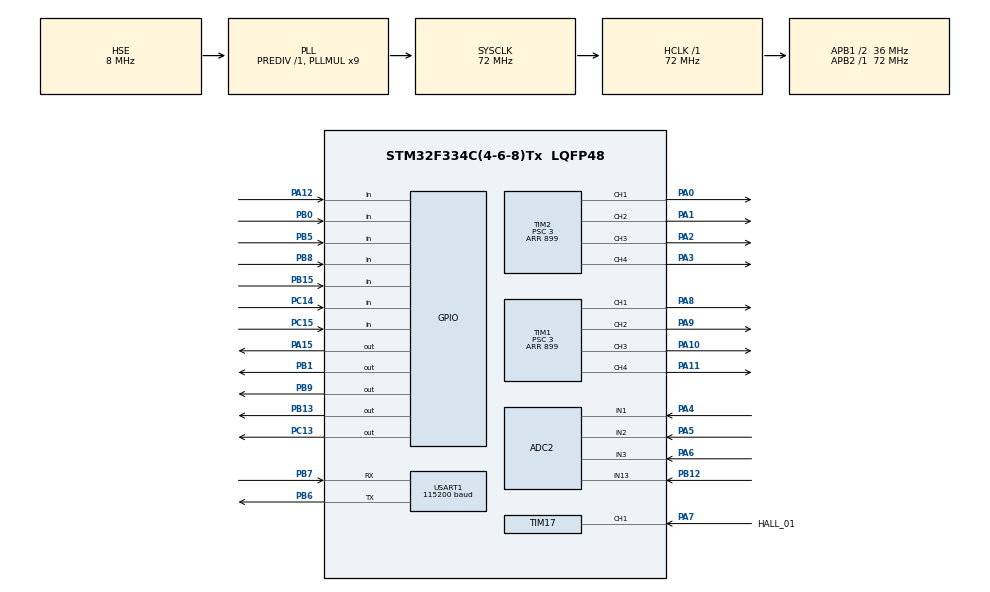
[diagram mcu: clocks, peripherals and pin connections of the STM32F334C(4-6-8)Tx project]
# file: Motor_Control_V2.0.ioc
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ADC2.Channel-0\#ChannelRegularConversion=ADC_CHANNEL_1
ADC2.Channel-1\#ChannelRegularConversion=ADC_CHANNEL_2
ADC2.Channel-2\#ChannelRegularConversion=ADC_CHANNEL_3
ADC2.Channel-3\#ChannelRegularConversion=ADC_CHANNEL_13
ADC2.ContinuousConvMode=DISABLE
ADC2.DMAContinuousRequests=ENABLE
ADC2.EOCSelection=ADC_EOC_SEQ_CONV
ADC2.EnableInjectedConversion=DISABLE
ADC2.ExternalTrigConv=ADC_EXTERNALTRIGCONV_T1_TRGO
ADC2.NbrOfConversion=4
ADC2.NbrOfConversionFlag=1
ADC2.Offset-0\#ChannelRegularConversion=0
ADC2.Offset-1\#ChannelRegularConversion=0
ADC2.Offset-2\#ChannelRegularConversion=0
ADC2.Offset-3\#ChannelRegularConversion=0
ADC2.OffsetNumber-0\#ChannelRegularConversion=ADC_OFFSET_NONE
ADC2.OffsetNumber-1\#ChannelRegularConversion=ADC_OFFSET_NONE
ADC2.OffsetNumber-2\#ChannelRegularConversion=ADC_OFFSET_NONE
ADC2.OffsetNumber-3\#ChannelRegularConversion=ADC_OFFSET_NONE
ADC2.Overrun=ADC_OVR_DATA_PRESERVED
ADC2.Rank-0\#ChannelRegularConversion=1
ADC2.Rank-1\#ChannelRegularConversion=2
ADC2.Rank-2\#ChannelRegularConversion=3
ADC2.Rank-3\#ChannelRegularConversion=4
ADC2.SamplingTime-0\#ChannelRegularConversion=ADC_SAMPLETIME_601CYCLES_5
ADC2.SamplingTime-1\#ChannelRegularConversion=ADC_SAMPLETIME_601CYCLES_5
ADC2.SamplingTime-2\#ChannelRegularConversion=ADC_SAMPLETIME_601CYCLES_5
ADC2.SamplingTime-3\#ChannelRegularConversion=ADC_SAMPLETIME_601CYCLES_5
ADC2.SequencerNbRanks=1
ADC2.SubFamily=STM32F334x8
Dma.ADC2.0.Direction=DMA_PERIPH_TO_MEMORY
Dma.ADC2.0.Instance=DMA1_Channel2
Dma.ADC2.0.MemDataAlignment=DMA_MDATAALIGN_HALFWORD
Dma.ADC2.0.MemInc=DMA_MINC_ENABLE
Dma.ADC2.0.Mode=DMA_CIRCULAR
Dma.ADC2.0.PeriphDataAlignment=DMA_PDATAALIGN_HALFWORD
Dma.ADC2.0.PeriphInc=DMA_PINC_DISABLE
Dma.ADC2.0.Priority=DMA_PRIORITY_HIGH
Dma.Request0=ADC2
Dma.Request1=USART1_RX
Dma.USART1_RX.1.Direction=DMA_PERIPH_TO_MEMORY
Dma.USART1_RX.1.Instance=DMA1_Channel5
Dma.USART1_RX.1.MemDataAlignment=DMA_MDATAALIGN_BYTE
Dma.USART1_RX.1.MemInc=DMA_MINC_ENABLE
Dma.USART1_RX.1.Mode=DMA_CIRCULAR
Dma.USART1_RX.1.PeriphDataAlignment=DMA_PDATAALIGN_BYTE
Dma.USART1_RX.1.PeriphInc=DMA_PINC_DISABLE
Dma.USART1_RX.1.Priority=DMA_PRIORITY_MEDIUM
Mcu.Family=STM32F3
Mcu.Name=STM32F334C(4-6-8)Tx
Mcu.Package=LQFP48
NVIC.DMA1_Channel2_IRQn=true\:2\:0\:true\:false\:true\:false\:true\:true
NVIC.DMA1_Channel5_IRQn=true\:3\:0\:true\:false\:true\:false\:true\:true
NVIC.PriorityGroup=NVIC_PRIORITYGROUP_4
NVIC.TIM1_TRG_COM_TIM17_IRQn=true\:1\:0\:true\:false\:true\:true\:true\:true
NVIC.TIM1_UP_TIM16_IRQn=true\:3\:0\:true\:false\:true\:true\:true\:true
NVIC.TIM3_IRQn=true\:1\:0\:true\:false\:true\:true\:true\:true
NVIC.TIM6_DAC1_IRQn=true\:0\:0\:false\:false\:true\:true\:true\:true
NVIC.USART1_IRQn=true\:3\:0\:true\:false\:true\:true\:true\:true
PA0.Signal=S_TIM2_CH1_ETR
PA1.Signal=S_TIM2_CH2
PA10.Signal=S_TIM1_CH3
PA11.Signal=S_TIM1_CH4
PA12.GPIO_PuPd=GPIO_PULLUP
PA12.Signal=GPIO_Input
PA13.Mode=Serial_Wire
PA13.Signal=SYS_JTMS-SWDIO
PA14.Mode=Serial_Wire
PA14.Signal=SYS_JTCK-SWCLK
PA15.Signal=GPIO_Output
PA2.Signal=S_TIM2_CH3
PA3.Signal=S_TIM2_CH4
PA4.Mode=IN1-Single-Ended
PA4.Signal=ADC2_IN1
PA5.Mode=IN2-Single-Ended
PA5.Signal=ADC2_IN2
PA6.Mode=IN3-Single-Ended
PA6.Signal=ADC2_IN3
PA7.GPIO_Label=HALL_01
PA7.GPIO_PuPd=GPIO_PULLUP
PA7.GPIO_Speed=GPIO_SPEED_FREQ_HIGH
PA7.Signal=S_TIM17_CH1
PA8.Signal=S_TIM1_CH1
PA9.Signal=S_TIM1_CH2
PB0.GPIO_PuPd=GPIO_PULLUP
PB0.Signal=GPIO_Input
PB1.Signal=GPIO_Output
PB12.Mode=IN13-Single-Ended
PB12.Signal=ADC2_IN13
PB13.Signal=GPIO_Output
PB15.GPIO_PuPd=GPIO_PULLUP
PB15.Signal=GPIO_Input
PB5.GPIO_Mode=GPIO_MODE_INPUT
PB5.GPIO_PuPd=GPIO_PULLUP
PB5.Signal=GPIO_Input
PB6.GPIO_PuPd=GPIO_PULLUP
PB6.Mode=Asynchronous
PB6.Signal=USART1_TX
PB7.GPIO_PuPd=GPIO_PULLUP
PB7.Mode=Asynchronous
PB7.Signal=USART1_RX
PB8.GPIO_PuPd=GPIO_PULLUP
PB8.Signal=GPIO_Input
PB9.Signal=GPIO_Output
PC13.Signal=GPIO_Output
PC14\ /\ OSC32_IN.GPIO_PuPd=GPIO_PULLUP
PC14\ /\ OSC32_IN.Signal=GPIO_Input
PC15\ /\ OSC32_OUT.GPIO_PuPd=GPIO_PULLUP
PC15\ /\ OSC32_OUT.Signal=GPIO_Input
PF0\ /\ OSC_IN.Mode=HSE-External-Oscillator
PF0\ /\ OSC_IN.Signal=RCC_OSC_IN
PF1\ /\ OSC_OUT.Mode=HSE-External-Oscillator
PF1\ /\ OSC_OUT.Signal=RCC_OSC_OUT
ProjectManager.HeapSize=0x200
ProjectManager.StackSize=0x400
ProjectManager.TargetToolchain=MDK-ARM V5.32
RCC.AHBFreq_Value=72000000
RCC.APB1CLKDivider=RCC_HCLK_DIV2
RCC.APB1Freq_Value=36000000
RCC.APB1TimFreq_Value=72000000
RCC.APB2Freq_Value=72000000
RCC.APB2TimFreq_Value=72000000
RCC.CortexFreq_Value=72000000
RCC.HCLKFreq_Value=72000000
RCC.HSE_VALUE=8000000
RCC.HSI_VALUE=8000000
RCC.LSE_VALUE=32768
RCC.PLLMUL=RCC_PLL_MUL9
RCC.PLLSourceVirtual=RCC_PLLSOURCE_HSE
RCC.SYSCLKFreq_VALUE=72000000
RCC.SYSCLKSourceVirtual=RCC_SYSCLKSOURCE_PLLCLK
SH.S_TIM17_CH1.0=TIM17_CH1,Input_Capture1_from_TI1
SH.S_TIM1_CH1.0=TIM1_CH1,PWM Generation1 CH1
SH.S_TIM1_CH2.0=TIM1_CH2,PWM Generation2 CH2
SH.S_TIM1_CH3.0=TIM1_CH3,PWM Generation3 CH3
SH.S_TIM1_CH4.0=TIM1_CH4,PWM Generation4 CH4
SH.S_TIM2_CH1_ETR.0=TIM2_CH1,PWM Generation1 CH1
SH.S_TIM2_CH2.0=TIM2_CH2,PWM Generation2 CH2
SH.S_TIM2_CH3.0=TIM2_CH3,PWM Generation3 CH3
SH.S_TIM2_CH4.0=TIM2_CH4,PWM Generation4 CH4
TIM1.Channel-PWM\ Generation1\ CH1=TIM_CHANNEL_1
TIM1.Channel-PWM\ Generation2\ CH2=TIM_CHANNEL_2
TIM1.Channel-PWM\ Generation3\ CH3=TIM_CHANNEL_3
TIM1.Channel-PWM\ Generation4\ CH4=TIM_CHANNEL_4
TIM1.Period=899
TIM1.Prescaler=3
TIM1.TIM_MasterOutputTrigger=TIM_TRGO_UPDATE
TIM1.TIM_MasterOutputTrigger2=TIM_TRGO2_RESET
TIM1.TIM_MasterSlaveMode=TIM_MASTERSLAVEMODE_DISABLE
TIM17.Channel=TIM_CHANNEL_1
TIM17.ICFilter_CH1=15
TIM17.Prescaler=72-1
TIM2.Channel-PWM\ Generation1\ CH1=TIM_CHANNEL_1
TIM2.Channel-PWM\ Generation2\ CH2=TIM_CHANNEL_2
TIM2.Channel-PWM\ Generation3\ CH3=TIM_CHANNEL_3
TIM2.Channel-PWM\ Generation4\ CH4=TIM_CHANNEL_4
TIM2.Period=899
TIM2.Prescaler=3
TIM3.Period=1000-1
TIM3.Prescaler=72-1
TIM3.TIM_MasterOutputTrigger=TIM_TRGO_UPDATE
TIM6.Period=200-1
TIM6.Prescaler=72-1
USART1.BaudRate=115200
USART1.VirtualMode-Asynchronous=VM_ASYNC
VP_TIM17_VS_ClockSourceINT.Mode=Enable_Timer
VP_TIM3_VS_ClockSourceINT.Mode=Internal
VP_TIM6_VS_ClockSourceINT.Mode=Enable_Timer
board=custom

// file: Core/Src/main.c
/* USER CODE BEGIN Header */
/**
  ******************************************************************************
  * @file           : main.c
  * @brief          : Main program body
  ******************************************************************************
  * @attention
  *
  * Copyright (c) 2025 STMicroelectronics.
  * All rights reserved.
  *
  * This software is licensed under terms that can be found in the LICENSE file
  * in the root directory of this software component.
  * If no LICENSE file comes with this software, it is provided AS-IS.
  *
  ******************************************************************************
  */
/* USER CODE END Header */
#include "main.h"
#include "adc.h"
#include "dma.h"
#include "tim.h"
#include "usart.h"
#include "gpio.h"

/* USER CODE BEGIN Includes */
#include "drv8870.h"
#include "currentsense.h"
#include "log.h"
#include "at_command.h"
#include <stdio.h>
#include <string.h>
#include <stdarg.h>
#include "rotation_control.h"
#include "motor_control.h"
#include "speed_sensor.h"
#include "cmd_motor.h"

/* USER CODE END Includes */

/* USER CODE BEGIN PTD */

extern void  SpeedSensors_Init(void);

extern void Init_SpeedControl();

// 全局速度传感器实例
extern SpeedSensor_t g_speed_sensors[4];

extern  uint16_t g_device_id;

/* USER CODE END PTD */

void SystemClock_Config(void);

int main(void)
{

  /* MCU Configuration--------------------------------------------------------*/

  /* Reset of all peripherals, Initializes the Flash interface and the Systick. */
  HAL_Init();

  /* Configure the system clock */
  SystemClock_Config();

  /* Initialize all configured peripherals */
  MX_GPIO_Init();
  MX_DMA_Init();
  MX_ADC2_Init();
  MX_TIM1_Init();
  MX_TIM2_Init();
  MX_USART1_UART_Init();
  MX_TIM3_Init();
  MX_TIM6_Init();
  MX_TIM17_Init();
  /* USER CODE BEGIN 2 */

   Log_Init(&huart1);

	 // ��ʼ��AT�������
   AT_Init(&huart1);  //
    //  UART1
   // 初始化电机命令模块 (从Flash读取设备ID)
   MotorCmd_Init();
   //LOG_INFO("\r\nF334 + DRV8870, PWM=20kHz, ADC2 DMA (TIM1 TRGO), IN13=PB12\r\n");

  // ��ʼ����·�������
   MTD1_Init(&htim2);
   MTD2_Init(&htim2);
   MTD3_Init(&htim1);
   MTD4_Init(&htim1);

   // ���ó�ʼ�ٶȣ�20%/30%/40%/50%
//   MTD1_SetSpeedPercent(+90);
//   MTD2_SetSpeedPercent(-90);
//   MTD3_SetSpeedPercent(+90);
//   MTD4_SetSpeedPercent(-90);

  //电流采样ADC2+DMA��TIM1
   CurrentSense_SetCalibration((CurrCalib_t){3.3f, 0.01f, 50.0f});
   CurrentSense_InitDMA(&hadc2);

   // // 截止频率20Hz，采样20kHz
   CurrentSense_SetLPF_ByCutoff(20.0f, 20000.0f);
   CurrentSense_EnableLPF(1);

   // 初始化换气阀旋转控制模块
    RotationControl_Init();

    // 设置换气阀双电机速度(使用100%速度)
    RotationControl_SetMotorSpeed(100);
    RotationControl_SetMotor2Speed(100); // MTD2 100%速度

   // 启动旋转流程，执行42700个循环
   //RotationControl_Start(42700);

   // 初始化多模式电机控制
   // MotorControl_Init();

    // 设置电机2为扭矩模式
    //MotorControl_SetMode(1, CONTROL_MODE_SPEED);
	//MotorControl_SetDuty(1, -50.0f);    // 50%占空比
    //MotorControl_SetCurrent(1, 0.12f); // 设置0.1A电流
	 //MotorControl_SetSpeed(1, 1500.0f); // 设置1000RPM速度
    //MotorControl_Enable(1, 1);        // 使能电机2

	// 设置电机3为扭矩模式
    //MotorControl_SetMode(2, CONTROL_MODE_TORQUE);
	//MotorControl_SetDuty(2, -50.0f);    // 50%占空比
    //MotorControl_SetCurrent(2, 0.1f); // 设置0.1A电流
    //MotorControl_Enable(2, 1);        // 使能电机4
	Init_SpeedControl();

    // 启动换气阀定时器中断
    HAL_TIM_Base_Start_IT(&htim3);
    // 启动电流环定时器
    //HAL_TIM_Base_Start_IT(&htim6);

	// 配置软启动参数（可选）
    SoftStart_Config_t soft_config = {
        .ramp_time_ms = 800,  // 800ms软启动时间
        .step_count = 25,     // 25个步骤
        .enabled = 1          // 启用软启动
    };

    // 为所有电机设置软启动配置
    for (uint8_t i = 0; i < 4; i++) {
        MTD_SetSoftStartConfig(i, soft_config);
    }

    LOG_INFO("Soft start initialized for all motors (800ms ramp time)\r\n");

	// 初始化四个电机的直接换相保护：检测到正反直接换相时，先滑行再软起动
// 这里设置4个电机统一滑行2秒，你也可以按电机分别设置不同时间
	for (uint8_t i = 0; i < 4; i++) {
		MTD_SetDirectionChangeDelay(i, 2000);  // 2s 滑行
	}

  /* USER CODE END 2 */

  /* Infinite loop */
  while (1)
  {

    /* USER CODE BEGIN 3 */

      AT_MainLoopHandler();
	   // 处理软启动更新（需要定期调用）
      MTD_ProcessSoftStart();
	   // 每500ms输出一次电机状态
//        static uint32_t last_print = 0;
//        if (HAL_GetTick() - last_print > 1000) {
//            last_print = HAL_GetTick();
//
//            // 获取并打印电机1状态
//            MotorControl_t* m2 = MotorControl_GetStatus(1);
//            LOG_INFO("M2: I=%.3fA, Speed=%.1fRPM, Mode=%d\r\n",
//                     m2->actual_current, m2->actual_speed, m2->mode);
//
//			// 获取并打印电机4状态
//            MotorControl_t* m3 = MotorControl_GetStatus(2);
//            LOG_INFO("M3: I=%.3fA, Speed=%.1fRPM, Mode=%d\r\n",
//                     m3->actual_current, m3->actual_speed, m3->mode);
//
//			LOG_INFO("DeviceId=%d\r\n",
//                     g_device_id);
//        }

		// 在主循环中添加
//			static uint32_t last_check = 0;
//			if (HAL_GetTick() - last_check > 500) {
//				last_check = HAL_GetTick();
//				// 读取霍尔传感器引脚状态
//				GPIO_PinState hall_state = HAL_GPIO_ReadPin(GPIOA, HALL_01_Pin);
//				LOG_INFO("Hall sensor pin state: %d", hall_state);
//			}
		// 每5ms运行一次速度环计算(200Hz)
//        static uint32_t last_speed_update = 0;
//        if (HAL_GetTick() - last_speed_update >= 5) {
//            last_speed_update = HAL_GetTick();
//            MotorControl_SpeedLoopUpdate();
//        }

	  HAL_Delay(1); // 防止CPU占用过高

  }

  /* USER CODE END 3 */
}

void SystemClock_Config(void)
{
  RCC_OscInitTypeDef RCC_OscInitStruct = {0};
  RCC_ClkInitTypeDef RCC_ClkInitStruct = {0};
  RCC_PeriphCLKInitTypeDef PeriphClkInit = {0};

  /** Initializes the RCC Oscillators according to the specified parameters
  * in the RCC_OscInitTypeDef structure.
  */
  RCC_OscInitStruct.OscillatorType = RCC_OSCILLATORTYPE_HSE;
  RCC_OscInitStruct.HSEState = RCC_HSE_ON;
  RCC_OscInitStruct.HSEPredivValue = RCC_HSE_PREDIV_DIV1;
  RCC_OscInitStruct.HSIState = RCC_HSI_ON;
  RCC_OscInitStruct.PLL.PLLState = RCC_PLL_ON;
  RCC_OscInitStruct.PLL.PLLSource = RCC_PLLSOURCE_HSE;
  RCC_OscInitStruct.PLL.PLLMUL = RCC_PLL_MUL9;
  if (HAL_RCC_OscConfig(&RCC_OscInitStruct) != HAL_OK)
  {
    Error_Handler();
  }

  /** Initializes the CPU, AHB and APB buses clocks
  */
  RCC_ClkInitStruct.ClockType = RCC_CLOCKTYPE_HCLK|RCC_CLOCKTYPE_SYSCLK
                              |RCC_CLOCKTYPE_PCLK1|RCC_CLOCKTYPE_PCLK2;
  RCC_ClkInitStruct.SYSCLKSource = RCC_SYSCLKSOURCE_PLLCLK;
  RCC_ClkInitStruct.AHBCLKDivider = RCC_SYSCLK_DIV1;
  RCC_ClkInitStruct.APB1CLKDivider = RCC_HCLK_DIV2;
  RCC_ClkInitStruct.APB2CLKDivider = RCC_HCLK_DIV1;

  if (HAL_RCC_ClockConfig(&RCC_ClkInitStruct, FLASH_LATENCY_2) != HAL_OK)
  {
    Error_Handler();
  }
  PeriphClkInit.PeriphClockSelection = RCC_PERIPHCLK_USART1|RCC_PERIPHCLK_TIM1
                              |RCC_PERIPHCLK_ADC12;
  PeriphClkInit.Usart1ClockSelection = RCC_USART1CLKSOURCE_PCLK1;
  PeriphClkInit.Adc12ClockSelection = RCC_ADC12PLLCLK_DIV1;
  PeriphClkInit.Tim1ClockSelection = RCC_TIM1CLK_HCLK;
  if (HAL_RCCEx_PeriphCLKConfig(&PeriphClkInit) != HAL_OK)
  {
    Error_Handler();
  }
}

/* USER CODE BEGIN 4 */
// 定时器中断回调
void HAL_TIM_PeriodElapsedCallback(TIM_HandleTypeDef *htim)
{
    if (htim->Instance == TIM3) { // 假设使用TIM3作为10ms周期定时器

        // 调用旋转控制处理函数
        RotationControl_Process();
    }
	else if (htim->Instance == TIM6) { // 5kHz电流环控制

//		 // 速度环更新(200Hz，每5ms执行一次)
        static uint8_t speed_div = 0;
        if (++speed_div >= 25) {
            speed_div = 0;
            MotorControl_SpeedLoopUpdate();

        }
//

        MotorControl_CurrentLoopUpdate();

    }
}

// ADC错误回调
void HAL_ADC_ErrorCallback(ADC_HandleTypeDef* hadc)
{
  if (hadc->Instance == ADC2)
  {
    LOG_ERROR("ADC Error: 0x%lX\r\n", hadc->ErrorCode);

    if (hadc->ErrorCode & HAL_ADC_ERROR_DMA)
    {
      LOG_ERROR("DMA Error: 0x%lX\r\n", hadc->DMA_Handle->ErrorCode);
    }

  }
}
/* USER CODE END 4 */

void Error_Handler(void)
{
  __disable_irq();
  while (1)
  {
  }
}
